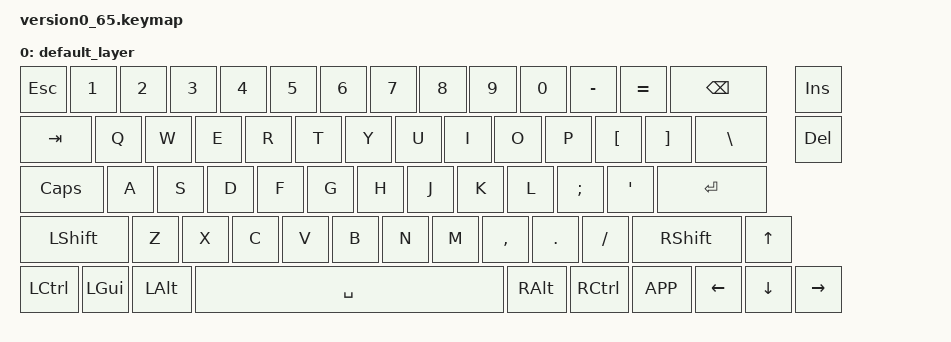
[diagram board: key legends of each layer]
// This file was generated from a template. Edit it to match your keyboard.
// See https://zmk.dev/docs/development/hardware-integration/new-shield for more instructions.

#include <behaviors.dtsi>
#include <dt-bindings/zmk/keys.h>

/ {
    keymap {
        compatible = "zmk,keymap";

        default_layer {
            bindings = <
                &kp ESC &kp N1 &kp N2 &kp N3 &kp N4 &kp N5 &kp N6 &kp N7 &kp N8 &kp N9 &kp N0 &kp MINUS &kp EQUAL &kp BSPC &kp INS

                &kp TAB &kp Q &kp W &kp E &kp R &kp T &kp Y &kp U &kp I &kp O &kp P &kp LBKT &kp RBKT &kp BSLH &kp DEL

                &kp CAPS &kp A &kp S &kp D &kp F &kp G &kp H &kp J &kp K &kp L &kp SEMI &kp SQT &kp ENTER

                &kp LSHFT &kp Z &kp X &kp C &kp V &kp B &kp N &kp M &kp COMMA &kp DOT &kp FSLH &kp RSHFT &kp UP

                &kp LCTRL &kp LGUI &kp LALT &kp SPACE &kp RALT &kp RCTRL &kp K_APP &kp LEFT &kp DOWN &kp RIGHT
            >;
        };
    };
};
